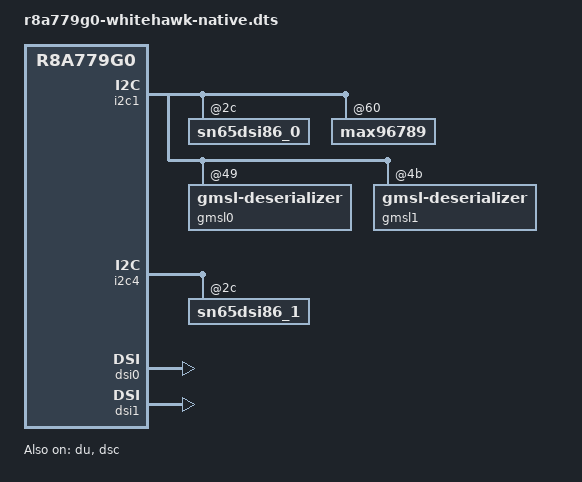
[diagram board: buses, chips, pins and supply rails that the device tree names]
// SPDX-License-Identifier: (GPL-2.0-only OR BSD-2-Clause)
/*
 * Device Tree Source support Native device
 * for the White Hawk CPU and Breakout boards
 *
 * Copyright (C) 2023 Renesas Electronics Corp.
 */

/dts-v1/;
#include "r8a779g0-whitehawk.dts"
#include "r8a779g0-native.dtsi"

&i2c1 {
	sn65dsi86_0@2c {
		status = "okay";
	};

	max96789@60 {
		status = "okay";
	};

	gmsl0: gmsl-deserializer@49 {
		status = "okay";
		i2c-mux {
			i2c@0 {
				status = "okay";
			};

			i2c@1 {
				status = "okay";
			};

			i2c@2 {
				status = "okay";
			};

			i2c@3 {
				status = "okay";
			};
		};
	};

	gmsl1: gmsl-deserializer@4b {
		status = "okay";
		i2c-mux {
			i2c@0 {
				status = "okay";
			};

			i2c@1 {
				status = "okay";
			};

			i2c@2 {
				status = "okay";
			};

			i2c@3 {
				status = "okay";
			};
		};
	};
};

&i2c4 {
	sn65dsi86_1@2c {
		status = "okay";
	};
};

&du {
	status = "okay";
};

&dsi0 {
	status = "okay";
};

&dsi1 {
	status = "okay";
};

&dsc {
	status = "okay";
};
